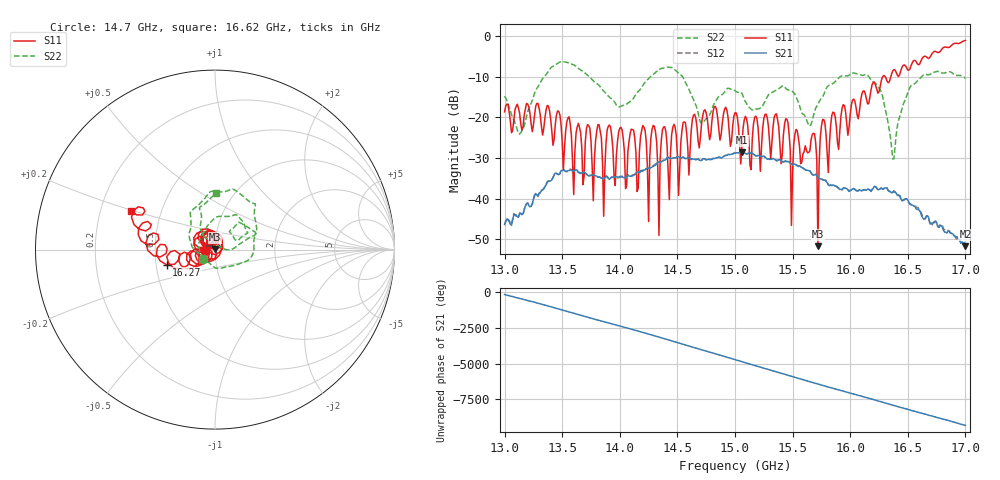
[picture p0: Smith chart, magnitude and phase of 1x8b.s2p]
!Keysight Technologies,P9374A,MY57211807,A.19.30.04
!Date: Friday, May 08, 2026 14:23:26
!Correction: S11(C  2-Port  )
!S21(C  2-Port  )
!S12(C  2-Port  )
!S22(C  2-Port  )
!S2P File: Measurements: S11, S21, S12, S22:
# Hz S  dB  R 50
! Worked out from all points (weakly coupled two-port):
!   401 points, 13 GHz to 17 GHz, reference 50 ohm
!   highest |S21| = -28.56 dB at 15.06 GHz (marker M1); lowest = -51.6 dB at 17 GHz (marker M2)
!   lowest |S11| = -51.6 dB at 15.72 GHz (marker M3), VSWR 1.01, Z = 50.1 + j0.253 ohm
!   |S11| at or under -10 dB: start of sweep to 16.28 GHz; 16.3034 GHz to 16.35261 GHz (49.22 MHz wide, 0.301 % of centre)
!   |S22| runs from -30.2 to -6.3 dB; largest |S21 - S12| = 0.0016
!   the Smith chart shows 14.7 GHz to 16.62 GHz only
!   S11 on the Smith chart (normalised r, x): 14.7 GHz: 0.89, -0.02; 16.27 GHz: 0.57, -0.10; 16.62 GHz: 0.33, +0.20
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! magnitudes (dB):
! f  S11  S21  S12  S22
! 13 GHz  -18.6  -46.2  -46.5  -14.8
! 13.14 GHz  -21.5  -43.6  -43.6  -23.8
! 13.4 GHz  -20.4  -35.6  -35.5  -7.8
! 13.67 GHz  -27.4  -33.6  -33.7  -8.5
! 14 GHz  -22.7  -34.5  -34.6  -17.4
! 14.15 GHz  -38.2  -33.5  -33.5  -13.9
! 14.21 GHz  -22.4  -33.0  -33.2  -11.7
! 14.25 GHz  -45.6  -32.5  -32.4  -10.5
! 14.29 GHz  -22.0  -32.1  -31.9  -9.4
! 14.34 GHz  -49.0  -31.0  -30.9  -8.2
! 14.38 GHz  -22.4  -30.5  -30.5  -7.9
! 14.43 GHz  -40.2  -29.9  -29.9  -7.7
! 14.7 GHz  -24.8  -30.6  -30.6  -21.2
! 15 GHz  -18.9  -28.8  -28.8  -13.4
! 15.06 GHz  -26.9  -28.6  -28.4  -14.1
! 15.67 GHz  -24.3  -34.0  -34.0  -20.8
! 15.72 GHz  -51.6  -34.7  -34.7  -16.8
! 15.76 GHz  -20.5  -35.3  -35.2  -15.0
! 16.27 GHz  -11.0  -37.4  -37.3  -13.7
! 16.34 GHz  -11.3  -38.2  -38.1  -23.2
! 16.62 GHz  -5.8  -44.1  -43.7  -10.0
! 17 GHz  -1.1  -51.6  -51.5  -10.4
